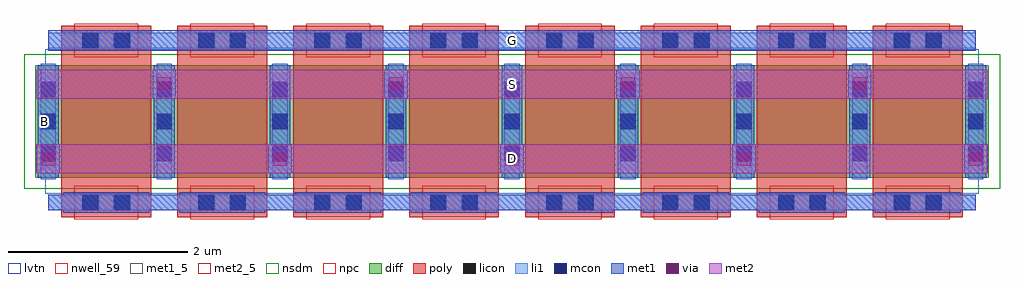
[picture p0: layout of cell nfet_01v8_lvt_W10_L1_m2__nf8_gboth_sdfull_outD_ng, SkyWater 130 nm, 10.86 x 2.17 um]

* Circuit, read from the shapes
.subckt nfet_01v8_lvt_W10_L1_m2__nf8_gboth_sdfull_outD_ng B D G S
XM1 S G D B sky130_fd_pr__nfet_01v8_lvt w=1.25 l=1 m=8
.ends

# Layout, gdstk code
import gdstk
lib = gdstk.Library(unit=1e-6, precision=1e-09)
def R(c, l, rs):  # rectangles x0, y0, x1, y1
    for r in rs: c.add(gdstk.rectangle(r[:2], r[2:], *l))
def A(c, l, x, y, w, h, nx, ny, dx, dy):  # array of equal rectangles
    R(c, l, [(x+i*dx, y+j*dy, x+i*dx+w, y+j*dy+h) for i in range(nx) for j in range(ny)])
nwell_59 = (64, 59)
diff = (65, 20)
poly = (66, 20)
licon = (66, 44)
li1 = (67, 20)
mcon = (67, 44)
met1_5 = (68, 5)
met1 = (68, 20)
via = (68, 44)
met2_5 = (69, 5)
met2 = (69, 20)
nsdm = (93, 44)
npc = (95, 20)
lvtn = (125, 44)

sky130_fd_pr__nfet_01v8_ = lib.new_cell('sky130_fd_pr__nfet_01v8_lvt_WWYT9C')
R(sky130_fd_pr__nfet_01v8_, diff, [(-5.305,-0.625,5.305,0.625)])
A(sky130_fd_pr__nfet_01v8_, poly, -5.015, -1.065, 1, 2.13, 8, 1, 1.29, 0)
A(sky130_fd_pr__nfet_01v8_, licon, -5.245, -0.425, 0.17, 0.17, 9, 3, 1.29, 0.34)
R(sky130_fd_pr__nfet_01v8_, licon, [(-4.77,-0.985,-4.6,-0.815), (-4.43,-0.985,-4.26,-0.815), (-3.48,-0.985,-3.31,-0.815), (-3.14,-0.985,-2.97,-0.815), (-2.19,-0.985,-2.02,-0.815), (-1.85,-0.985,-1.68,-0.815), (-0.9,-0.985,-0.73,-0.815), (-0.56,-0.985,-0.39,-0.815), (0.39,-0.985,0.56,-0.815), (0.73,-0.985,0.9,-0.815), (1.68,-0.985,1.85,-0.815), (2.02,-0.985,2.19,-0.815), (2.97,-0.985,3.14,-0.815), (3.31,-0.985,3.48,-0.815), (4.26,-0.985,4.43,-0.815), (4.6,-0.985,4.77,-0.815), (-4.77,0.815,-4.6,0.985), (-4.43,0.815,-4.26,0.985), (-3.48,0.815,-3.31,0.985), (-3.14,0.815,-2.97,0.985), (-2.19,0.815,-2.02,0.985), (-1.85,0.815,-1.68,0.985), (-0.9,0.815,-0.73,0.985), (-0.56,0.815,-0.39,0.985), (0.39,0.815,0.56,0.985), (0.73,0.815,0.9,0.985), (1.68,0.815,1.85,0.985), (2.02,0.815,2.19,0.985), (2.97,0.815,3.14,0.985), (3.31,0.815,3.48,0.985), (4.26,0.815,4.43,0.985), (4.6,0.815,4.77,0.985)])
A(sky130_fd_pr__nfet_01v8_, li1, -5.245, -0.645, 0.17, 1.29, 9, 1, 1.29, 0)
R(sky130_fd_pr__nfet_01v8_, li1, [(-5.16,-0.985,5.16,-0.815), (-5.16,0.815,5.16,0.985)])
A(sky130_fd_pr__nfet_01v8_, mcon, -5.245, -0.445, 0.17, 0.17, 9, 3, 1.29, 0.36)
R(sky130_fd_pr__nfet_01v8_, mcon, [(-4.78,-0.985,-4.61,-0.815), (-4.42,-0.985,-4.25,-0.815), (-3.49,-0.985,-3.32,-0.815), (-3.13,-0.985,-2.96,-0.815), (-2.2,-0.985,-2.03,-0.815), (-1.84,-0.985,-1.67,-0.815), (-0.91,-0.985,-0.74,-0.815), (-0.55,-0.985,-0.38,-0.815), (0.38,-0.985,0.55,-0.815), (0.74,-0.985,0.91,-0.815), (1.67,-0.985,1.84,-0.815), (2.03,-0.985,2.2,-0.815), (2.96,-0.985,3.13,-0.815), (3.32,-0.985,3.49,-0.815), (4.25,-0.985,4.42,-0.815), (4.61,-0.985,4.78,-0.815), (-4.78,0.815,-4.61,0.985), (-4.42,0.815,-4.25,0.985), (-3.49,0.815,-3.32,0.985), (-3.13,0.815,-2.96,0.985), (-2.2,0.815,-2.03,0.985), (-1.84,0.815,-1.67,0.985), (-0.91,0.815,-0.74,0.985), (-0.55,0.815,-0.38,0.985), (0.38,0.815,0.55,0.985), (0.74,0.815,0.91,0.985), (1.67,0.815,1.84,0.985), (2.03,0.815,2.2,0.985), (2.96,0.815,3.13,0.985), (3.32,0.815,3.49,0.985), (4.25,0.815,4.42,0.985), (4.61,0.815,4.78,0.985)])
A(sky130_fd_pr__nfet_01v8_, met1, -4.995, -1.015, 0.96, 0.03, 8, 2, 1.29, 0.2)
A(sky130_fd_pr__nfet_01v8_, met1, -5.275, -0.625, 0.23, 1.25, 9, 1, 1.29, 0)
A(sky130_fd_pr__nfet_01v8_, met1, -4.995, 0.785, 0.96, 0.03, 8, 2, 1.29, 0.2)
R(sky130_fd_pr__nfet_01v8_, met1, [(-5.16,-0.985,5.16,-0.815), (-5.16,0.815,5.16,0.985)])
R(sky130_fd_pr__nfet_01v8_, nsdm, [(-5.43,-0.75,5.43,0.75)])
A(sky130_fd_pr__nfet_01v8_, npc, -4.87, -1.085, 0.71, 0.37, 8, 2, 1.29, 1.8)
R(sky130_fd_pr__nfet_01v8_, lvtn, [(-5.195,-0.805,5.195,0.805)])
sky130_fd_pr__nfet_01v8_.add(gdstk.Label('D0', (-5.16,0), layer=67, texttype=5))
sky130_fd_pr__nfet_01v8_.add(gdstk.Label('G', (4.515,0.9), layer=67, texttype=5))
sky130_fd_pr__nfet_01v8_.add(gdstk.Label('G', (3.225,0.9), layer=67, texttype=5))
sky130_fd_pr__nfet_01v8_.add(gdstk.Label('G', (1.935,0.9), layer=67, texttype=5))
sky130_fd_pr__nfet_01v8_.add(gdstk.Label('G', (0.645,0.9), layer=67, texttype=5))
sky130_fd_pr__nfet_01v8_.add(gdstk.Label('G', (-0.645,0.9), layer=67, texttype=5))
sky130_fd_pr__nfet_01v8_.add(gdstk.Label('G', (-1.935,0.9), layer=67, texttype=5))
sky130_fd_pr__nfet_01v8_.add(gdstk.Label('G', (-3.225,0.9), layer=67, texttype=5))
sky130_fd_pr__nfet_01v8_.add(gdstk.Label('G', (-4.515,0.9), layer=67, texttype=5))
sky130_fd_pr__nfet_01v8_.add(gdstk.Label('S1', (-3.87,0), layer=67, texttype=5))
sky130_fd_pr__nfet_01v8_.add(gdstk.Label('D2', (-2.58,0), layer=67, texttype=5))
sky130_fd_pr__nfet_01v8_.add(gdstk.Label('S3', (-1.29,0), layer=67, texttype=5))
sky130_fd_pr__nfet_01v8_.add(gdstk.Label('D4', (0,0), layer=67, texttype=5))
sky130_fd_pr__nfet_01v8_.add(gdstk.Label('S5', (1.29,0), layer=67, texttype=5))
sky130_fd_pr__nfet_01v8_.add(gdstk.Label('D6', (2.58,0), layer=67, texttype=5))
sky130_fd_pr__nfet_01v8_.add(gdstk.Label('S7', (3.87,0), layer=67, texttype=5))

nfet_01v8_lvt_w10_l1_m2_ = lib.new_cell('nfet_01v8_lvt_W10_L1_m2__nf8_gboth_sdfull_outD_ng')
R(nfet_01v8_lvt_w10_l1_m2_, nwell_59, [(0.05,1.015,0.15,1.115)])
R(nfet_01v8_lvt_w10_l1_m2_, met1_5, [(0.145,1.85,10.465,2.08)])
A(nfet_01v8_lvt_w10_l1_m2_, met1, 0.015, 0.49, 0.26, 0.32, 5, 1, 2.58, 0)
A(nfet_01v8_lvt_w10_l1_m2_, met1, 1.305, 1.32, 0.26, 0.32, 4, 1, 2.58, 0)
R(nfet_01v8_lvt_w10_l1_m2_, met1, [(0.145,1.85,10.465,2.08)])
A(nfet_01v8_lvt_w10_l1_m2_, via, 0.07, 0.575, 0.15, 0.15, 5, 1, 2.58, 0)
A(nfet_01v8_lvt_w10_l1_m2_, via, 1.36, 1.405, 0.15, 0.15, 4, 1, 2.58, 0)
R(nfet_01v8_lvt_w10_l1_m2_, met2_5, [(0.01,0.49,10.6,0.81), (0.01,1.32,10.6,1.64)])
R(nfet_01v8_lvt_w10_l1_m2_, met2, [(0.01,0.49,10.6,0.81), (0.01,1.32,10.6,1.64)])
nfet_01v8_lvt_w10_l1_m2_.add(gdstk.Reference(sky130_fd_pr__nfet_01v8_, (5.305,1.065)))
nfet_01v8_lvt_w10_l1_m2_.add(gdstk.Label('S', (5.305,1.48), layer=69, texttype=5))
nfet_01v8_lvt_w10_l1_m2_.add(gdstk.Label('D', (5.305,0.65), layer=69, texttype=5))
nfet_01v8_lvt_w10_l1_m2_.add(gdstk.Label('G', (5.305,1.965), layer=68, texttype=5))
nfet_01v8_lvt_w10_l1_m2_.add(gdstk.Label('B', (0.1,1.065), layer=64, texttype=59))

lib.write_gds('nfet_01v8_lvt_W10_L1_m2__nf8_gboth_sdfull_outD_ng.gds')
